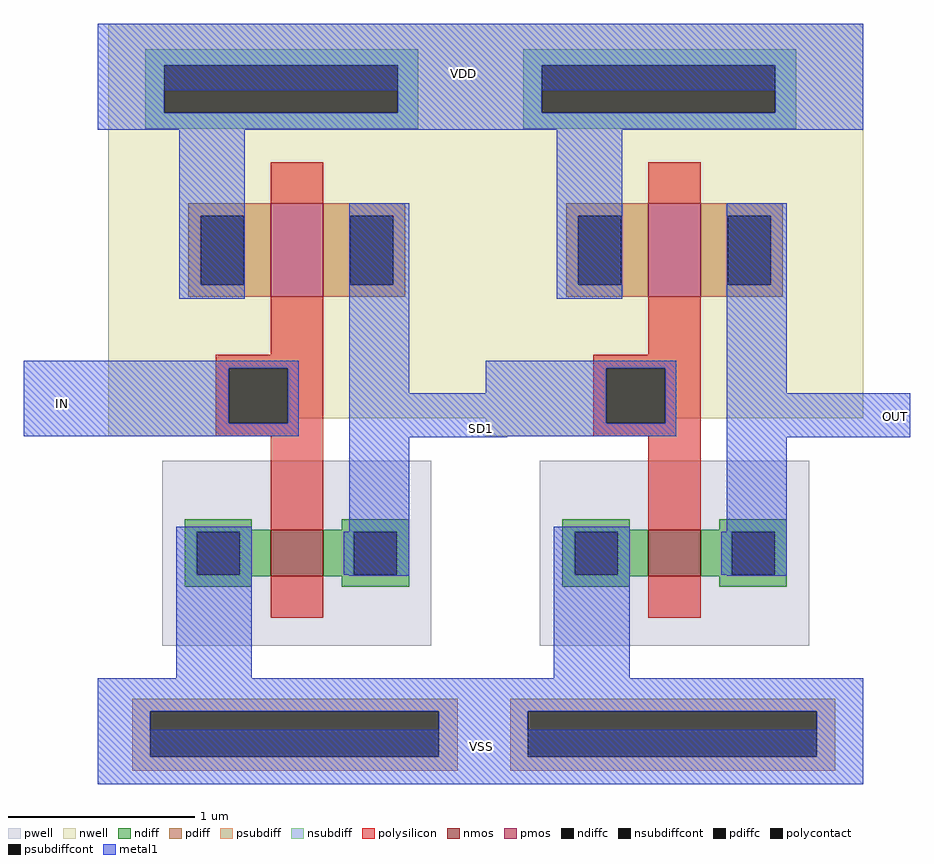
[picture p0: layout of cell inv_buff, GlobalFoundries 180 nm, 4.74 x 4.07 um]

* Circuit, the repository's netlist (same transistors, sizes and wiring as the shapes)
** sch_path: /home/shahid/GF180Projects/GF_INV/Xschem/INV_BUFF.sch
**.subckt INV_BUFF OUT VDD VSS IN
*.opin OUT
*.iopin VDD
*.iopin VSS
*.ipin IN
x1 VSS VDD net1 IN Inverter
x2 VSS VDD OUT net1 Inverter
**.ends

* expanding   symbol:  Inverter.sym # of pins=4
** sym_path: /home/shahid/GF180Projects/GF_INV/Xschem/Inverter.sym
** sch_path: /home/shahid/GF180Projects/GF_INV/Xschem/Inverter.sch
.subckt Inverter VSS VDD OUT IN
*.iopin VDD
*.iopin VSS
*.ipin IN
*.opin OUT
XM1 OUT IN VSS VSS nfet_03v3 L=0.28u W=0.25u nf=1 ad='int((nf+1)/2) * W/nf * 0.18u' as='int((nf+2)/2) * W/nf * 0.18u'
+ pd='2*int((nf+1)/2) * (W/nf + 0.18u)' ps='2*int((nf+2)/2) * (W/nf + 0.18u)' nrd='0.18u / W' nrs='0.18u / W'
+ sa=0 sb=0 sd=0 m=1
XM2 OUT IN VDD VDD pfet_03v3 L=0.28u W=0.5u nf=1 ad='int((nf+1)/2) * W/nf * 0.18u' as='int((nf+2)/2) * W/nf * 0.18u'
+ pd='2*int((nf+1)/2) * (W/nf + 0.18u)' ps='2*int((nf+2)/2) * (W/nf + 0.18u)' nrd='0.18u / W' nrs='0.18u / W'
+ sa=0 sb=0 sd=0 m=1
.ends

.end

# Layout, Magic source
magic
tech gf180mcuC
magscale 1 10
<< metal1 >>
rect -11 742 805 813
rect -11 700 0 742
rect -90 372 81 453
rect 395 371 427 418
rect 761 371 858 418
rect -11 58 0 113
rect -11 2 798 58
rect -11 0 0 2
use Inverter  Inverter_0
transform 1 0 522 0 1 214
box -118 -214 286 599
use Inverter  Inverter_1
transform 1 0 118 0 1 214
box -118 -214 286 599
<< labels >>
flabel metal1 -49 407 -49 407 0 FreeSans 640 0 0 0 IN
port 1 nsew
flabel metal1 842 393 842 393 0 FreeSans 640 0 0 0 OUT
port 3 nsew
flabel metal1 380 760 380 760 0 FreeSans 640 0 0 0 VDD
port 4 nsew
flabel metal1 400 40 400 40 0 FreeSans 640 0 0 0 VSS
port 5 nsew
flabel metal1 400 380 400 380 0 FreeSans 480 0 0 0 SD1
port 6 nsew
<< end >>

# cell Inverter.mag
magic
tech gf180mcuC
magscale 1 10
<< nwell >>
rect -118 486 286 599
rect -42 305 28 486
rect 1 239 86 245
rect -118 158 86 239
<< psubdiff >>
rect -92 -136 256 -123
rect -92 -185 -73 -136
rect 236 -185 256 -136
rect -92 -200 256 -185
<< nsubdiff >>
rect -78 555 214 572
rect -78 504 -58 555
rect 192 504 214 555
rect -78 487 214 504
<< psubdiffcont >>
rect -73 -185 236 -136
<< nsubdiffcont >>
rect -58 504 192 555
<< polysilicon >>
rect 56 245 112 263
rect -3 231 112 245
rect -3 172 11 231
rect 74 172 112 231
rect -3 158 112 172
rect 56 102 112 158
<< polycontact >>
rect 11 172 74 231
<< metal1 >>
rect -118 555 286 599
rect -118 504 -58 555
rect 192 504 286 555
rect -118 486 286 504
rect -42 305 28 486
rect -118 231 86 239
rect -118 172 11 231
rect 74 172 86 231
rect -118 158 86 172
rect 140 204 204 407
rect 140 157 286 204
rect -45 -101 36 61
rect 140 9 204 157
rect -118 -136 286 -101
rect -118 -185 -73 -136
rect 236 -185 286 -136
rect -118 -214 286 -185
use nmos_3p3_H9QVWA  nmos_3p3_H9QVWA_0
transform 1 0 84 0 1 33
box -144 -99 144 99
use pmos_3p3_M8RWPS  pmos_3p3_M8RWPS_0 ~/GF180Projects/GF_INV/Magic
transform 1 0 84 0 1 357
box -202 -180 202 180
<< labels >>
flabel nsubdiffcont 67 530 67 530 0 FreeSans 640 0 0 0 VDD
port 1 nsew
flabel psubdiffcont 81 -162 81 -162 0 FreeSans 640 0 0 0 VSS
port 2 nsew
flabel metal1 -95 199 -95 199 0 FreeSans 640 0 0 0 IN
port 3 nsew
flabel metal1 272 172 272 172 0 FreeSans 640 0 0 0 OUT
port 5 nsew
<< end >>

# cell nmos_3p3_H9QVWA: kit device nmos_3p3, w 0.250 l 0.280 m 1 nf 1 diffcov 100 polycov 100 guard 0 glc 0 grc 0 gtc 0 gbc 0 tbcov 100 rlcov 100 topc 0 botc 0 poverlap 0 doverlap 1 lmin 0.28 wmin 0.22 full_metal 0 compatible {nmos_3p3 nmos_6p0 nmos_6p0_nat}

# cell pmos_3p3_M8RWPS: kit device pmos_3p3, w 0.50 l 0.280 m 1 nf 1 diffcov 100 polycov 100 guard 0 glc 0 grc 0 gtc 0 gbc 0 tbcov 100 rlcov 100 topc 0 botc 0 poverlap 0 doverlap 1 lmin 0.28 wmin 0.22 full_metal 0 compatible {pmos_3p3 pmos_6p0}
